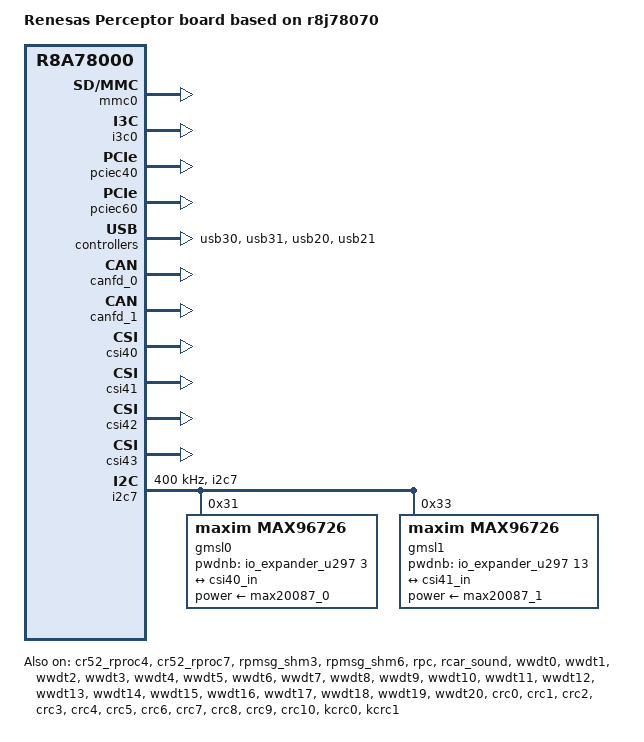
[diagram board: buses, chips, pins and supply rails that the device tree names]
// SPDX-License-Identifier: (GPL-2.0-only OR BSD-2-Clause)
/*
 * Device Tree Source for the Perceptor board
 *
 * Copyright (C) 2026 Renesas Electronics Corp.
 */

#include "r8a78000-ironhide-common.dtsi"

/*
 * On Perceptor, gmsl0/gmsl1 (max96726 @0x31/@0x33 behind io_expander_u297)
 * are wired to I2C7 instead of I2C3 used on Ironhide.
 */
/delete-node/ &gmsl0;
/delete-node/ &gmsl1;

/ {
	model = "Renesas Perceptor board based on r8j78070";
	compatible = "renesas,perceptor", "renesas,r8j78070",
		     "renesas,r8a78000";

	reserved-memory {
		#address-cells = <2>;
		#size-cells = <2>;
		ranges;

		cr52_ram4: cr52_ram4@2008e650000 {
			no-map;
			reg = <0x200 0x8e650000 0x0 0x1000>;
		};

		vdev4vring0: vdev0vring0@2008e651000 {
			no-map;
			reg = <0x200 0x8e651000 0x0 0x4000>;
		};

		vdev4vring1: vdev0vring1@2008e655000 {
			no-map;
			reg = <0x200 0x8e655000 0x0 0x4000>;
		};

		vdev4buffer: vdev0buffer@2008e610000 {
			no-map;
			reg = <0x200 0x8e610000 0x0 0x40000>;
		};

		cr52_ram7: cr52_ram7@2408e650000 {
			no-map;
			reg = <0x240 0x8e650000 0x0 0x1000>;
		};

		vdev7vring0: vdev0vring0@2408e651000 {
			no-map;
			reg = <0x240 0x8e651000 0x0 0x4000>;
		};

		vdev7vring1: vdev0vring1@2408e655000 {
			no-map;
			reg = <0x240 0x8e655000 0x0 0x4000>;
		};

		vdev7buffer: vdev0buffer@2408e610000 {
			no-map;
			reg = <0x240 0x8e610000 0x0 0x40000>;
		};
	};
};

&mmc0 {
	status = "okay";
};

&cr52_rproc4 {
	memory-region = <&cr52_ram4 &vdev4vring0 &vdev4vring1 &vdev4buffer>;
	status = "okay";
};

&cr52_rproc7 {
	memory-region = <&cr52_ram7 &vdev7vring0 &vdev7vring1 &vdev7buffer>;
	status = "okay";
};

&rpmsg_shm3 {
	status = "okay";
};

&rpmsg_shm6 {
	status = "okay";
};

&cmt0 {
	status = "disabled";
};

&cmt1 {
	status = "disabled";
};

&cmt2 {
	status = "disabled";
};

&cmt3 {
	status = "disabled";
};

&tmu0 {
	status = "disabled";
};

&tmu1 {
	status = "disabled";
};

&tmu2 {
	status = "disabled";
};

&tmu3 {
	status = "disabled";
};

&tmu4 {
	status = "disabled";
};

&i3c0 {
	status = "okay";
};

&rpc {
	status = "okay";
};

&pciec40 {
	status = "okay";
};

&pciec60 {
	status = "okay";
};

&pciec60_ep {
	status = "disabled";
};

&pciec61 {
	status = "disabled";
};

&pciec61_ep {
	status = "disabled";
};

&rcar_sound {
	status = "okay";
};

&tsnes3 {
	status = "disabled";
};

&usb30 {
	status = "okay";
};

&usb31 {
	status = "okay";
};

&usb20 {
	status = "okay";
};

&usb21 {
	status = "okay";
};

&rwdt {
	status = "disabled";
};

&wwdt0 {
	status = "okay";
};

&wwdt1 {
	status = "okay";
};

&wwdt2 {
	status = "okay";
};

&wwdt3 {
	status = "okay";
};

&wwdt4 {
	status = "okay";
};

&wwdt5 {
	status = "okay";
};

&wwdt6 {
	status = "okay";
};

&wwdt7 {
	status = "okay";
};

&wwdt8 {
	status = "okay";
};

&wwdt9 {
	status = "okay";
};

&wwdt10 {
	status = "okay";
};

&wwdt11 {
	status = "okay";
};

&wwdt12 {
	status = "okay";
};

&wwdt13 {
	status = "okay";
};

&wwdt14 {
	status = "okay";
};

&wwdt15 {
	status = "okay";
};

&wwdt16 {
	status = "okay";
};

&wwdt17 {
	status = "okay";
};

&wwdt18 {
	status = "okay";
};

&wwdt19 {
	status = "okay";
};

&wwdt20 {
	status = "okay";
};

&crc0 {
	status = "okay";
};

&crc1 {
	status = "okay";
};

&crc2 {
	status = "okay";
};

&crc3 {
	status = "okay";
};

&crc4 {
	status = "okay";
};

&crc5 {
	status = "okay";
};

&crc6 {
	status = "okay";
};

&crc7 {
	status = "okay";
};

&crc8 {
	status = "okay";
};

&crc9 {
	status = "okay";
};

&crc10 {
	status = "okay";
};

&kcrc0 {
	status = "okay";
};

&kcrc1 {
	status = "okay";
};

&kcrc2 {
	status = "okay";
};

&kcrc3 {
	status = "okay";
};

&kcrc4 {
	status = "okay";
};

&kcrc5 {
	status = "okay";
};

&kcrc6 {
	status = "okay";
};

&kcrc7 {
	status = "okay";
};

&kcrc8 {
	status = "okay";
};

&kcrc9 {
	status = "okay";
};

&kcrc10 {
	status = "okay";
};

&wcrc0 {
	status = "okay";
};

&wcrc1 {
	status = "okay";
};

&wcrc2 {
	status = "okay";
};

&wcrc3 {
	status = "okay";
};

&wcrc4 {
	status = "okay";
};

&wcrc5 {
	status = "okay";
};

&wcrc6 {
	status = "okay";
};

&wcrc7 {
	status = "okay";
};

&wcrc8 {
	status = "okay";
};

&wcrc9 {
	status = "okay";
};

&wcrc10 {
	status = "okay";
};

&ufs0 {
	status = "okay";
};

&ufs1 {
	status = "okay";
};

&canfd_0 {
	status = "okay";
};

&canfd_1 {
	status = "okay";
};

&canxl0 {
	status = "okay";
};

&canxl1 {
	status = "okay";
};

&rtca {
	status = "disabled";
};

&vin000 {
	status = "okay";
};

&vin001 {
	status = "okay";
};

&vin010 {
	status = "okay";
};

&vin020 {
	status = "okay";
};

&vin030 {
	status = "okay";
};

&vin031 {
	status = "okay";
};

&vin040 {
	status = "okay";
};

&vin050 {
	status = "okay";
};

&vin060 {
	status = "okay";
};

&vin061 {
	status = "okay";
};

&vin070 {
	status = "okay";
};

&vin080 {
	status = "okay";
};

&vin090 {
	status = "okay";
};

&vin091 {
	status = "okay";
};

&vin100 {
	status = "okay";
};

&vin110 {
	status = "okay";
};

&csi40 {
	status = "okay";
};

&csi41 {
	status = "okay";
};

&csi42 {
	status = "okay";
};

&csi43 {
	status = "okay";
};

&isp0 {
	status = "okay";
};

&isp1 {
	status = "okay";
};

&isp2 {
	status = "okay";
};

&isp3 {
	status = "okay";
};

&pfc {
	i2c7_pins: i2c7 {
		groups = "i2c7";
		function = "i2c7";
	};
};

&i2c7 {
	pinctrl-0 = <&i2c7_pins>;
	pinctrl-names = "default";
	clock-frequency = <400000>;

	status = "okay";

	gmsl0: gmsl-deserializer@31 {
		compatible = "maxim,max96726";
		reg = <0x31>, <0x01>, <0x02>, <0x03>, <0x04>;
		pwdnb-gpios = <&io_expander_u297 3 GPIO_ACTIVE_HIGH>; /* P03 */
		gpio-controller;
		#gpio-cells = <2>;
		power-supply = <&max20087_0>;
		maxim,mipi-controller = <2>; /* CSI-2 wired to Port B on Perceptor */

		ports {
			#address-cells = <1>;
			#size-cells = <0>;

			port@0 {
				reg = <0>;
				max96726_in0: endpoint {
				};
			};

			port@1 {
				reg = <1>;
				max96726_in1: endpoint {
				};
			};

			port@2 {
				reg = <2>;
				max96726_in2: endpoint {
				};
			};

			port@3 {
				reg = <3>;
				max96726_in3: endpoint {
				};
			};

			port@4 {
				reg = <4>;
				max96726_out0: endpoint {
					bus-type = <MEDIA_BUS_TYPE_CSI2_CPHY>;
					clock-lanes = <0>;
					data-lanes = <1 2 3 4>;
					remote-endpoint = <&csi40_in>;
				};
			};
		};

		i2c-mux {
			#address-cells = <1>;
			#size-cells = <0>;

			i2c@0 {
				#address-cells = <1>;
				#size-cells = <0>;
				reg = <0>;

				status = "disabled";
			};

			i2c@1 {
				#address-cells = <1>;
				#size-cells = <0>;
				reg = <1>;

				status = "disabled";
			};

			i2c@2 {
				#address-cells = <1>;
				#size-cells = <0>;
				reg = <2>;

				status = "disabled";
			};

			i2c@3 {
				#address-cells = <1>;
				#size-cells = <0>;
				reg = <3>;

				status = "disabled";
			};
		};
	};

	gmsl1: gmsl-deserializer@33 {
		compatible = "maxim,max96726";
		reg = <0x33>, <0x05>, <0x06>, <0x07>, <0x08>;
		pwdnb-gpios = <&io_expander_u297 13 GPIO_ACTIVE_HIGH>; /* P13 */
		gpio-controller;
		#gpio-cells = <2>;
		power-supply = <&max20087_1>;
		maxim,mipi-controller = <2>; /* CSI-2 wired to Port B on Perceptor */

		ports {
			#address-cells = <1>;
			#size-cells = <0>;

			port@0 {
				reg = <0>;
				max96726_in4: endpoint {
				};
			};

			port@1 {
				reg = <1>;
				max96726_in5: endpoint {
				};
			};

			port@2 {
				reg = <2>;
				max96726_in6: endpoint {
				};
			};

			port@3 {
				reg = <3>;
				max96726_in7: endpoint {
				};
			};

			port@4 {
				reg = <4>;
				max96726_out1: endpoint {
					bus-type = <MEDIA_BUS_TYPE_CSI2_CPHY>;
					clock-lanes = <0>;
					data-lanes = <1 2 3 4>;
					remote-endpoint = <&csi41_in>;
				};
			};
		};

		i2c-mux {
			#address-cells = <1>;
			#size-cells = <0>;

			i2c@0 {
				#address-cells = <1>;
				#size-cells = <0>;
				reg = <0>;

				status = "disabled";
			};

			i2c@1 {
				#address-cells = <1>;
				#size-cells = <0>;
				reg = <1>;

				status = "disabled";
			};

			i2c@2 {
				#address-cells = <1>;
				#size-cells = <0>;
				reg = <2>;

				status = "disabled";
			};

			i2c@3 {
				#address-cells = <1>;
				#size-cells = <0>;
				reg = <3>;

				status = "disabled";
			};
		};
	};
};

&ucie0_rc {
	status = "okay";
};

&ucie1_rc {
	status = "okay";
};

&gmsl2 {
	maxim,mipi-controller = <2>;
};

&gmsl3 {
	maxim,mipi-controller = <2>;
};

/*
 * ironhide-fakra.dtsi's &gmsl0/&gmsl1/&max96726_inX overlays are applied
 * while gmsl0/gmsl1 are still the I2C3-based nodes from the common dtsi
 * (fakra.dtsi is included inside r8a78000-ironhide-common.dtsi, before
 * the /delete-node/ + &i2c7 redefinition above), so that content is lost
 * once those nodes are deleted here. perceptor-fakra.dtsi re-applies the
 * same camera wiring against the relocated I2C7 nodes.
 */
#include "perceptor-fakra.dtsi"
